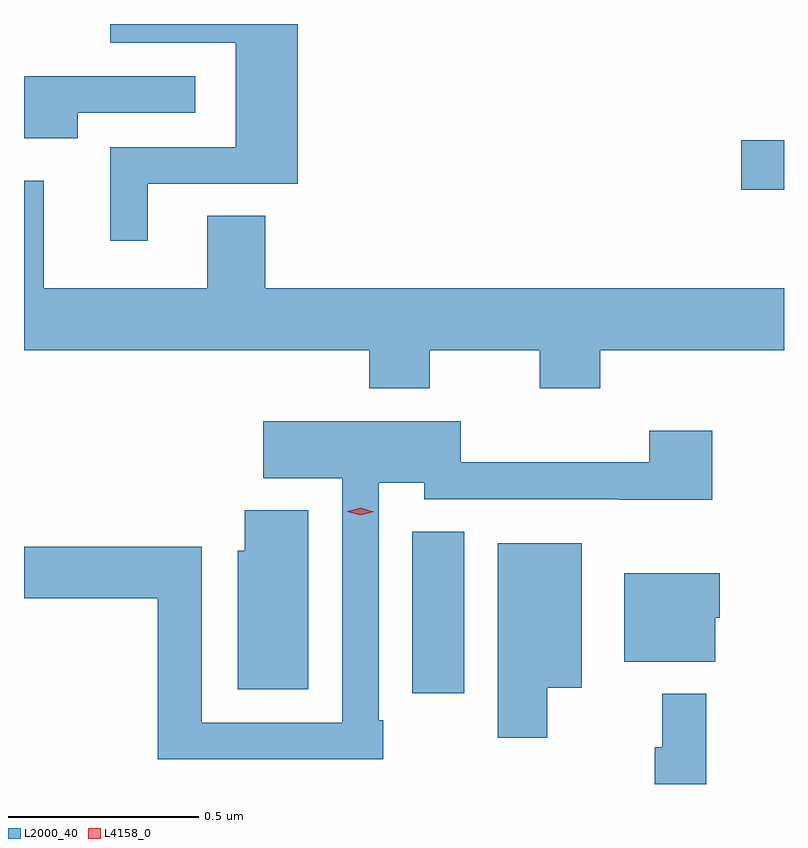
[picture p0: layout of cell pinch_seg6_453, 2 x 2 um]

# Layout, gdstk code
import gdstk
lib = gdstk.Library(unit=1e-6, precision=1e-09)
def R(c, l, rs):  # rectangles x0, y0, x1, y1
    for r in rs: c.add(gdstk.rectangle(r[:2], r[2:], *l))
def P(c, l, *ps):  # polygons
    for p in ps: c.add(gdstk.Polygon(p, *l))
L2000_40 = (2000, 40)
L4158_0 = (4158, 0)

pinch_seg6_453 = lib.new_cell('pinch_seg6_453')
R(pinch_seg6_453, L2000_40, [(708.815,922.458,708.952,922.883), (709.68,923.783,709.793,923.913)])
P(pinch_seg6_453, L2000_40, [(708.118,923.799),(708.514,923.799),(708.514,924.219),(708.02,924.219),(708.02,924.17),(708.35,924.17),(708.35,923.895),(708.02,923.895),(708.02,923.649),(708.118,923.649)],
  [(707.935,923.985),(708.244,923.985),(708.244,924.081),(707.931,924.081),(707.931,924.082),(707.793,924.082),(707.793,923.918),(707.935,923.918)],
  [(708.861,923.36),(709.15,923.36),(709.15,923.261),(709.31,923.261),(709.31,923.36),(709.793,923.36),(709.793,923.524),(708.428,923.524),(708.428,923.714),(708.275,923.714),(708.275,923.524),(707.845,923.524),(707.845,923.806),(707.793,923.806),(707.793,923.36),(708.701,923.36),(708.701,923.261),(708.861,923.261)],
  [(708.739,922.387),(708.726,922.387),(708.726,923.012),(708.846,923.012),(708.846,922.968),(709.357,922.968),(709.357,922.967),(709.604,922.967),(709.604,923.149),(709.439,923.149),(709.439,923.066),(708.942,923.066),(708.942,923.173),(708.423,923.173),(708.423,923.024),(708.63,923.024),(708.63,922.38),(708.261,922.38),(708.261,922.844),(707.793,922.844),(707.793,922.708),(708.145,922.708),(708.145,922.284),(708.739,922.284)],
  [(708.541,922.939),(708.374,922.939),(708.374,922.833),(708.356,922.833),(708.356,922.469),(708.541,922.469)],
  [(709.17,922.472),(709.261,922.472),(709.261,922.852),(709.04,922.852),(709.04,922.341),(709.17,922.341)],
  [(709.612,922.656),(709.624,922.656),(709.624,922.774),(709.373,922.774),(709.373,922.541),(709.612,922.541)],
  [(709.589,922.456),(709.472,922.456),(709.472,922.316),(709.453,922.316),(709.453,922.219),(709.589,922.219)])
P(pinch_seg6_453, L4158_0, [(708.679,922.926),(708.644,922.936),(708.644,922.936),(708.644,922.937),(708.679,922.946),(708.714,922.935),(708.714,922.935),(708.714,922.935)])

lib.write_gds('pinch_seg6_453.gds')
